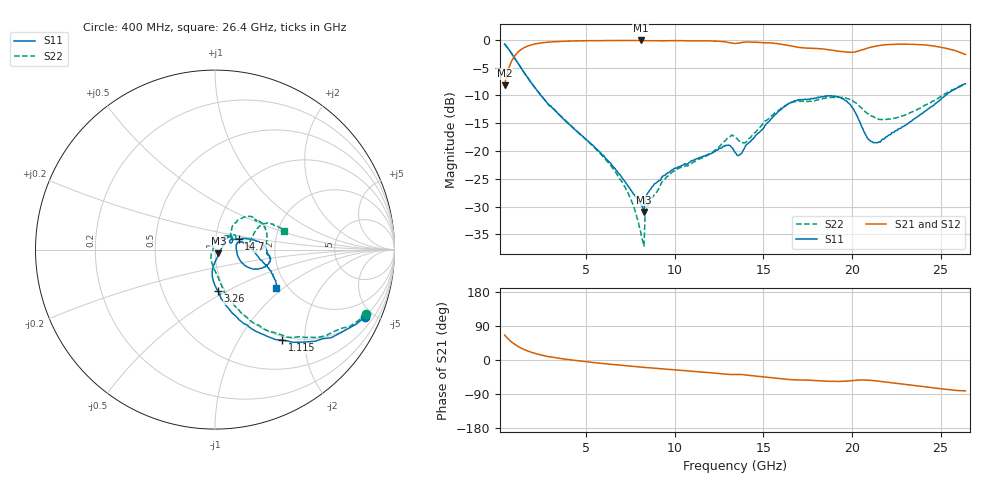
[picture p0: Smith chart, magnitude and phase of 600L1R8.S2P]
!  American Technical Ceramics  Date:  10/26/00
!  One Norden Lane
!  Huntington Station,  NY.  11746-2102
!  Tel:  (631) 622-4700  Fax:  (631) 622-4748
!  Part Number  600L1R8B  Mounting Orientation:  Horizontal
!  Description:  Low ESR, High Q Microwave capacitors
!  Application: Coupling, Bypass, Tuning, DC Block
!  Filters, Matching
# GHZ S DB R 50
! Freq  |S11|  S11 Ph  |S21|  S21 Ph  |S12|  S12 Ph  |S22|  S22 Ph
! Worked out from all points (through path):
!   401 points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, 400 MHz to 26.4 GHz, reference 50 ohm
!   highest |S21| = -0.12 dB at 8.07 GHz (marker M1); lowest = -8.2 dB at 400 MHz (marker M2)
!   group delay of S21, straight-line fit = 10.9 ps
!   lowest |S11| = -31.0 dB at 8.265 GHz (marker M3), VSWR 1.06, Z = 51.9 - j2.14 ohm
!   |S11| at or under -10 dB: 2.447 GHz to 25.27 GHz (22.83 GHz wide, 165 % of centre)
!   |S22| runs from -37.1 to -0.8 dB; largest |S21 - S12| = 0.008
!   S11 on the Smith chart (normalised r, x): 400 MHz: 0.97, -4.44; 1.115 GHz: 0.94, -1.57; 3.26 GHz: 0.93, -0.45; 14.7 GHz: 1.29, +0.15; 26.4 GHz: 1.76, -0.89
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0.4  -0.78 -24.3  -8.19 65.7  -8.19 65.5  -0.76 -23.0
1.115  -4.03 -53.3  -2.33 37.0  -2.36 36.6  -4.03 -50.8
1.96  -7.95 -71.8  -0.87 19.6  -0.87 19.9  -7.97 -66.1
3.26  -12.76 -85.9  -0.34 6.1  -0.35 6.2  -12.72 -78.3
4.755  -17.20 -96.1  -0.19 -3.4  -0.20 -3.4  -17.26 -86.4
7.095  -25.12 -82.8  -0.13 -14.5  -0.13 -14.5  -25.94 -115.9
8.07  -29.49 -55.3  -0.12 -18.6  -0.13 -18.6  -34.49 -141.5
8.265  -30.97 -46.7  -0.15 -19.5  -0.14 -19.4  -37.11 -150.8
8.46  -27.61 17.1  -0.17 -20.2  -0.17 -20.2  -29.94 101.8
9.11  -25.32 30.6  -0.18 -22.7  -0.18 -22.7  -26.68 85.8
9.89  -23.39 42.4  -0.15 -25.5  -0.15 -25.5  -23.70 68.0
12.815  -19.14 39.5  -0.37 -37.3  -0.36 -37.2  -18.21 42.0
13.4  -20.23 22.1  -0.66 -38.1  -0.67 -38.1  -17.48 30.5
13.92  -19.59 32.5  -0.42 -38.9  -0.42 -39.0  -18.54 38.8
14.7  -16.80 23.9  -0.45 -43.2  -0.46 -43.2  -16.12 52.5
16.39  -11.55 6.9  -1.01 -51.2  -1.00 -51.2  -11.59 44.7
17.755  -10.56 -5.0  -1.51 -53.6  -1.51 -53.6  -11.02 34.9
19.64  -10.95 -20.9  -2.20 -56.0  -2.20 -55.9  -10.45 14.4
21.135  -18.30 -3.8  -1.29 -54.2  -1.30 -54.3  -13.77 -1.4
22.11  -17.09 18.2  -0.85 -59.4  -0.85 -59.5  -14.23 9.3
24.515  -11.98 -11.2  -1.07 -73.0  -1.07 -73.1  -11.07 27.6
26.4  -7.91 -31.7  -2.65 -81.4  -2.66 -81.8  -8.03 14.8
